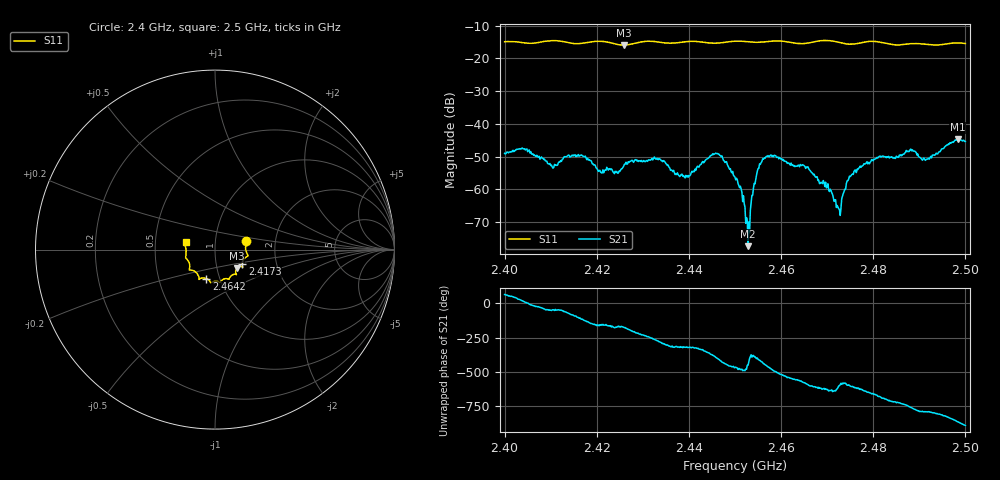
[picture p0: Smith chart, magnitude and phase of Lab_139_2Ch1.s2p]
# Hz S RI R 50
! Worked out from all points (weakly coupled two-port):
!   601 points, 2.4 GHz to 2.5 GHz, reference 50 ohm
!   highest |S21| = -44.74 dB at 2.4983 GHz (marker M1); lowest = -77.4 dB at 2.4528 GHz (marker M2)
!   lowest |S11| = -15.9 dB at 2.4258 GHz (marker M3), VSWR 1.38, Z = 62.4 - j13.2 ohm
!   |S11| at or under -10 dB: start of sweep to end of sweep
!   S12 and S22 are empty: the file has one direction only
!   S11 on the Smith chart (normalised r, x): 2.4 GHz: 1.41, +0.14; 2.4173 GHz: 1.34, -0.23; 2.4642 GHz: 0.86, -0.29; 2.5 GHz: 0.72, +0.06
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2.4e9  0.1732 0.0494  0.00149 0.00322  0 0  0 0
2.404333e9  0.1713 0.0228  0.00408 0.000812  0 0  0 0
2.4105e9  0.1842 -0.0337  0.00149 -0.00148  0 0  0 0
2.416667e9  0.1531 -0.0741  -0.00138 -0.00305  0 0  0 0
2.417333e9  0.1522 -0.0816  -0.00177 -0.00262  0 0  0 0
2.420667e9  0.1549 -0.0971  -0.00176 -0.000832  0 0  0 0
2.425833e9  0.1222 -0.1031  -0.00225 -0.000251  0 0  0 0
2.433333e9  0.1137 -0.1374  0.000151 0.00283  0 0  0 0
2.4395e9  0.0796 -0.1624  0.00112 0.00106  0 0  0 0
2.446167e9  0.0462 -0.1653  0.00268 -0.00229  0 0  0 0
2.45e9  0.0288 -0.1815  -0.00045 -0.00146  0 0  0 0
2.452833e9  0.0182 -0.1788  -5.76e-07 -0.000135  0 0  0 0
2.4545e9  0.0061 -0.1764  0.00115 -0.000832  0 0  0 0
2.456333e9  -0.00903 -0.1789  0.00048 -0.00296  0 0  0 0
2.464167e9  -0.0482 -0.1614  -0.00215 0.00105  0 0  0 0
2.466667e9  -0.0763 -0.1591  -0.000892 0.00156  0 0  0 0
2.4725e9  -0.0897 -0.152  -0.000233 0.000446  0 0  0 0
2.475667e9  -0.1133 -0.1209  -0.000642 0.00156  0 0  0 0
2.483333e9  -0.1406 -0.0896  0.00313 0.000605  0 0  0 0
2.491667e9  -0.1616 -0.0281  0.000981 -0.00271  0 0  0 0
2.498333e9  -0.1694 0.0343  -0.00461 -0.00351  0 0  0 0
2.5e9  -0.1636 0.0426  -0.00528 -0.000986  0 0  0 0
